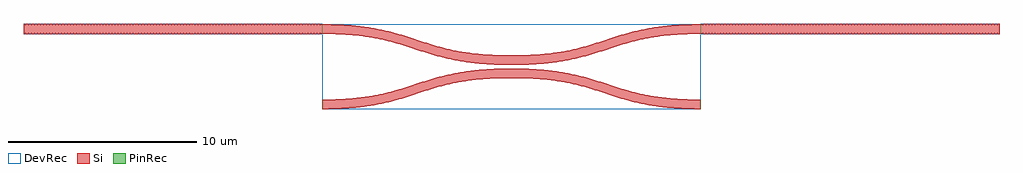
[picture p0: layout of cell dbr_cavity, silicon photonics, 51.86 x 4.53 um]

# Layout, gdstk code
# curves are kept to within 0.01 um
import gdstk
lib = gdstk.Library(unit=1e-6, precision=1e-09)
def R(c, l, rs):  # rectangles x0, y0, x1, y1
    for r in rs: c.add(gdstk.rectangle(r[:2], r[2:], *l))
def A(c, l, x, y, w, h, nx, ny, dx, dy):  # array of equal rectangles
    R(c, l, [(x+i*dx, y+j*dy, x+i*dx+w, y+j*dy+h) for i in range(nx) for j in range(ny)])
def P(c, l, *ps):  # polygons
    for p in ps: c.add(gdstk.Polygon(p, *l))
Si = (1, 0)
PinRec = (1, 10)
DevRec = (68, 0)

coupler_2b7f353e = lib.new_cell('coupler_2b7f353e')
R(coupler_2b7f353e, Si, [(0,-0.25,0.1,0.25), (0,0.45,0.1,0.95)])
P(coupler_2b7f353e, Si, [(0,0.25),(-0.595,0.242),(-1.404,0.201),(-2.123,0.131),(-2.665,0.052),(-3.35,-0.083),(-3.967,-0.24),(-5.927,-0.859),(-6.5,-1.017),(-7.033,-1.138),(-7.724,-1.256),(-8.392,-1.333),(-9.281,-1.388),(-10,-1.4),(-10,-1.9),(-9.405,-1.892),(-8.596,-1.851),(-7.877,-1.781),(-7.335,-1.702),(-6.65,-1.567),(-6.033,-1.41),(-4.073,-0.791),(-3.5,-0.633),(-2.967,-0.512),(-2.276,-0.394),(-1.608,-0.317),(-0.719,-0.262),(0,-0.25)],
  [(0,0.45),(-0.595,0.458),(-1.404,0.499),(-2.123,0.569),(-2.665,0.648),(-3.35,0.783),(-3.967,0.94),(-5.927,1.559),(-6.5,1.717),(-7.033,1.838),(-7.724,1.956),(-8.392,2.033),(-9.281,2.088),(-10,2.1),(-10,2.6),(-9.405,2.592),(-8.596,2.551),(-7.877,2.481),(-7.335,2.402),(-6.65,2.267),(-6.033,2.11),(-4.073,1.491),(-3.5,1.333),(-2.967,1.212),(-2.276,1.094),(-1.608,1.017),(-0.719,0.962),(0,0.95)],
  [(0.1,0.45),(0.695,0.458),(1.504,0.499),(2.223,0.569),(2.765,0.648),(3.45,0.783),(4.067,0.94),(6.027,1.559),(6.6,1.717),(7.133,1.838),(7.824,1.956),(8.492,2.033),(9.381,2.088),(10.1,2.1),(10.1,2.6),(9.505,2.592),(8.696,2.551),(7.977,2.481),(7.435,2.402),(6.75,2.267),(6.133,2.11),(4.173,1.491),(3.6,1.333),(3.067,1.212),(2.376,1.094),(1.708,1.017),(0.819,0.962),(0.1,0.95)],
  [(0.1,0.25),(0.695,0.242),(1.504,0.201),(2.223,0.131),(2.765,0.052),(3.45,-0.083),(4.067,-0.24),(6.027,-0.859),(6.6,-1.017),(7.133,-1.138),(7.824,-1.256),(8.492,-1.333),(9.381,-1.388),(10.1,-1.4),(10.1,-1.9),(9.505,-1.892),(8.696,-1.851),(7.977,-1.781),(7.435,-1.702),(6.75,-1.567),(6.133,-1.41),(4.173,-0.791),(3.6,-0.633),(3.067,-0.512),(2.376,-0.394),(1.708,-0.317),(0.819,-0.262),(0.1,-0.25)])
R(coupler_2b7f353e, DevRec, [(-10,-1.9,10.1,2.6)])
coupler_2b7f353e.add(gdstk.FlexPath([(-9.995,-1.65),(-10.005,-1.65)], 0.5, ends="flush", simple_path=True, layer=1, datatype=10))  # PinRec
coupler_2b7f353e.add(gdstk.FlexPath([(-9.995,2.35),(-10.005,2.35)], 0.5, ends="flush", simple_path=True, layer=1, datatype=10))  # PinRec
coupler_2b7f353e.add(gdstk.FlexPath([(10.095,2.35),(10.105,2.35)], 0.5, ends="flush", simple_path=True, layer=1, datatype=10))  # PinRec
coupler_2b7f353e.add(gdstk.FlexPath([(10.095,-1.65),(10.105,-1.65)], 0.5, ends="flush", simple_path=True, layer=1, datatype=10))  # PinRec
coupler_2b7f353e.add(gdstk.Label('o1', (-10,-1.65), layer=1, texttype=10))
coupler_2b7f353e.add(gdstk.Label('o2', (-10,2.35), layer=1, texttype=10))
coupler_2b7f353e.add(gdstk.Label('o3', (10.1,2.35), layer=1, texttype=10))
coupler_2b7f353e.add(gdstk.Label('o4', (10.1,-1.65), layer=1, texttype=10))

dbr_transformed_561ef3e3 = lib.new_cell('dbr_transformed_561ef3e3')
A(dbr_transformed_561ef3e3, Si, -25.879, 2.075, 0.079, 0.55, 100, 1, 0.158, 0)
A(dbr_transformed_561ef3e3, Si, -25.8, 2.125, 0.079, 0.45, 100, 1, 0.158, 0)
R(dbr_transformed_561ef3e3, Si, [(-10.079,2.1,-10,2.6)])
R(dbr_transformed_561ef3e3, DevRec, [(-25.879,2.075,-10,2.625)])
dbr_transformed_561ef3e3.add(gdstk.FlexPath([(-10.005,2.35),(-9.995,2.35)], 0.5, ends="flush", simple_path=True, layer=1, datatype=10))  # PinRec
dbr_transformed_561ef3e3.add(gdstk.Label('o1', (-10,2.35), layer=1, texttype=10))

dbr_transformed_48903e7e = lib.new_cell('dbr_transformed_48903e7e')
A(dbr_transformed_48903e7e, Si, 10.258, 2.075, 0.079, 0.55, 100, 1, 0.158, 0)
A(dbr_transformed_48903e7e, Si, 10.179, 2.125, 0.079, 0.45, 100, 1, 0.158, 0)
R(dbr_transformed_48903e7e, Si, [(10.1,2.1,10.179,2.6)])
R(dbr_transformed_48903e7e, DevRec, [(10.1,2.075,25.979,2.625)])
dbr_transformed_48903e7e.add(gdstk.FlexPath([(10.105,2.35),(10.095,2.35)], 0.5, ends="flush", simple_path=True, layer=1, datatype=10))  # PinRec
dbr_transformed_48903e7e.add(gdstk.Label('o1', (10.1,2.35), layer=1, texttype=10))

dbr_cavity = lib.new_cell('dbr_cavity')
dbr_cavity.add(gdstk.Reference(coupler_2b7f353e, (0,0)))
dbr_cavity.add(gdstk.Reference(dbr_transformed_561ef3e3, (0,0)))
dbr_cavity.add(gdstk.Reference(dbr_transformed_48903e7e, (0,0)))

lib.write_gds('dbr_cavity.gds')
